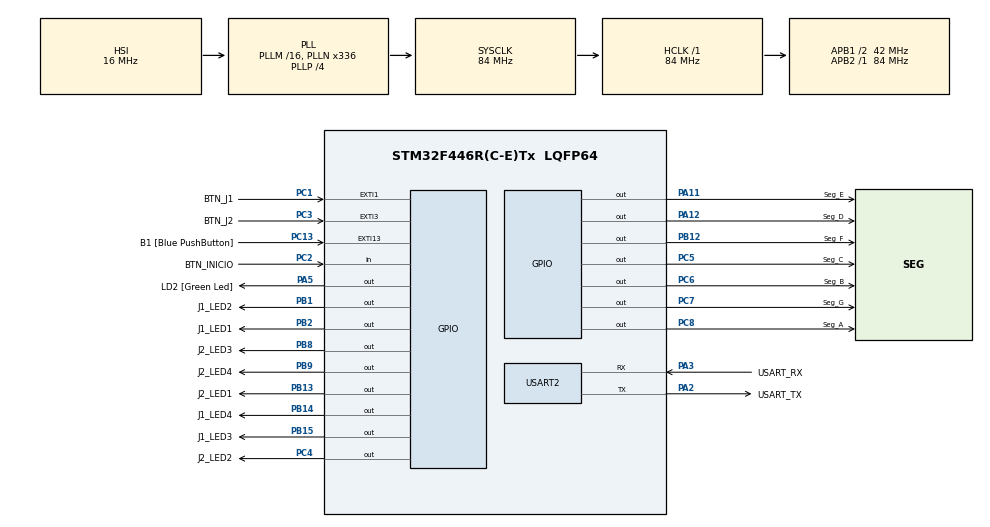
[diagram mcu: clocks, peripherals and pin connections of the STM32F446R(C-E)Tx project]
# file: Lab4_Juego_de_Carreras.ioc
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Mcu.Family=STM32F4
Mcu.Name=STM32F446R(C-E)Tx
Mcu.Package=LQFP64
NVIC.EXTI1_IRQn=true\:0\:0\:false\:false\:true\:true\:true\:true
NVIC.EXTI3_IRQn=true\:0\:0\:false\:false\:true\:true\:true\:true
NVIC.PriorityGroup=NVIC_PRIORITYGROUP_0
PA11.GPIO_Label=Seg_E
PA11.PinState=GPIO_PIN_SET
PA11.Signal=GPIO_Output
PA12.GPIO_Label=Seg_D
PA12.PinState=GPIO_PIN_SET
PA12.Signal=GPIO_Output
PA13.GPIO_Label=TMS
PA13.Mode=Serial_Wire
PA13.Signal=SYS_JTMS-SWDIO
PA14.GPIO_Label=TCK
PA14.Mode=Serial_Wire
PA14.Signal=SYS_JTCK-SWCLK
PA2.GPIO_Label=USART_TX
PA2.Mode=Asynchronous
PA2.Signal=USART2_TX
PA3.GPIO_Label=USART_RX
PA3.Mode=Asynchronous
PA3.Signal=USART2_RX
PA5.GPIO_Label=LD2 [Green Led]
PA5.Signal=GPIO_Output
PB1.GPIO_Label=J1_LED2
PB1.Signal=GPIO_Output
PB12.GPIO_Label=Seg_F
PB12.PinState=GPIO_PIN_SET
PB12.Signal=GPIO_Output
PB13.GPIO_Label=J2_LED1
PB13.Signal=GPIO_Output
PB14.GPIO_Label=J1_LED4
PB14.Signal=GPIO_Output
PB15.GPIO_Label=J1_LED3
PB15.Signal=GPIO_Output
PB2.GPIO_Label=J1_LED1
PB2.Signal=GPIO_Output
PB3.GPIO_Label=SWO
PB3.Signal=SYS_JTDO-SWO
PB8.GPIO_Label=J2_LED3
PB8.Signal=GPIO_Output
PB9.GPIO_Label=J2_LED4
PB9.Signal=GPIO_Output
PC1.GPIO_Label=BTN_J1
PC1.GPIO_ModeDefaultEXTI=GPIO_MODE_IT_FALLING
PC1.GPIO_PuPd=GPIO_PULLUP
PC1.Signal=GPXTI1
PC13.GPIO_Label=B1 [Blue PushButton]
PC13.GPIO_ModeDefaultEXTI=GPIO_MODE_IT_FALLING
PC13.Signal=GPXTI13
PC14-OSC32_IN.Mode=LSE-External-Oscillator
PC14-OSC32_IN.Signal=RCC_OSC32_IN
PC15-OSC32_OUT.Mode=LSE-External-Oscillator
PC15-OSC32_OUT.Signal=RCC_OSC32_OUT
PC2.GPIO_Label=BTN_INICIO
PC2.GPIO_PuPd=GPIO_PULLUP
PC2.Signal=GPIO_Input
PC3.GPIO_Label=BTN_J2
PC3.GPIO_ModeDefaultEXTI=GPIO_MODE_IT_FALLING
PC3.GPIO_PuPd=GPIO_PULLUP
PC3.Signal=GPXTI3
PC4.GPIO_Label=J2_LED2
PC4.Signal=GPIO_Output
PC5.GPIO_Label=Seg_C
PC5.PinState=GPIO_PIN_SET
PC5.Signal=GPIO_Output
PC6.GPIO_Label=Seg_B
PC6.PinState=GPIO_PIN_SET
PC6.Signal=GPIO_Output
PC7.GPIO_Label=Seg_G
PC7.PinState=GPIO_PIN_SET
PC7.Signal=GPIO_Output
PC8.GPIO_Label=Seg_A
PC8.PinState=GPIO_PIN_SET
PC8.Signal=GPIO_Output
PH0-OSC_IN.Mode=HSE-External-Oscillator
PH0-OSC_IN.Signal=RCC_OSC_IN
PH1-OSC_OUT.Mode=HSE-External-Oscillator
PH1-OSC_OUT.Signal=RCC_OSC_OUT
ProjectManager.HeapSize=0x200
ProjectManager.StackSize=0x400
ProjectManager.TargetToolchain=STM32CubeIDE
RCC.48MHZClocksFreq_Value=84000000
RCC.AHBFreq_Value=84000000
RCC.APB1CLKDivider=RCC_HCLK_DIV2
RCC.APB1Freq_Value=42000000
RCC.APB1TimFreq_Value=84000000
RCC.APB2Freq_Value=84000000
RCC.APB2TimFreq_Value=84000000
RCC.CortexFreq_Value=84000000
RCC.FLatency-AdvancedSettings=FLASH_LATENCY_2
RCC.HCLKFreq_Value=84000000
RCC.HSE_VALUE=8000000
RCC.HSI_VALUE=16000000
RCC.PLLN=336
RCC.PLLP=RCC_PLLP_DIV4
RCC.SYSCLKFreq_VALUE=84000000
RCC.SYSCLKSource=RCC_SYSCLKSOURCE_PLLCLK
RCC.USBFreq_Value=168000000
RCC.VCOOutputFreq_Value=336000000
USART2.VirtualMode=VM_ASYNC
board=NUCLEO-F446RE

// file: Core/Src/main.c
/* USER CODE BEGIN Header */
/**
  ******************************************************************************
  * @file           : main.c
  * @brief          : Main program body
  ******************************************************************************
  * @attention
  *
  * Copyright (c) 2026 STMicroelectronics.
  * All rights reserved.
  *
  * This software is licensed under terms that can be found in the LICENSE file
  * in the root directory of this software component.
  * If no LICENSE file comes with this software, it is provided AS-IS.
  *
  ******************************************************************************
  */
/* USER CODE END Header */
#include "main.h"

UART_HandleTypeDef huart2;

/* USER CODE BEGIN PV */
volatile uint8_t puntosJ1 = 0;
volatile uint8_t puntosJ2 = 0;
volatile uint8_t carrera_activa = 0; // Bloquea botones hasta que termine conteo
volatile uint8_t hay_ganador = 0;

/* USER CODE END PV */

void SystemClock_Config(void);
static void MX_GPIO_Init(void);
static void MX_USART2_UART_Init(void);
/* USER CODE BEGIN PFP */

void mostrarEnDisplay(uint8_t num);
void verificar_ganador(void);
void actualizar_leds_carrera_J1(uint8_t pos);
void actualizar_leds_carrera_J2(uint8_t pos);
void apagar_todo_emergencia(void);

/* USER CODE END PFP */

int main(void)
{

  /* MCU Configuration--------------------------------------------------------*/

  /* Reset of all peripherals, Initializes the Flash interface and the Systick. */
  HAL_Init();

  /* Configure the system clock */
  SystemClock_Config();

  /* Initialize all configured peripherals */
  MX_GPIO_Init();
  MX_USART2_UART_Init();

  /* Infinite loop */
  /* USER CODE BEGIN WHILE */
  while (1)
  {
	  // Detectar botón de inicio (BTN_3 en PC2)

	  if (HAL_GPIO_ReadPin(BTN_INICIO_GPIO_Port, BTN_INICIO_Pin) == GPIO_PIN_RESET && !carrera_activa) {
		  HAL_Delay(100); //Devounce

		  // LIMPIEZA TOTAL DE REGISTROS
		  GPIOB->ODR = 0; // Apaga todos los pines del Puerto B de un solo golpe
		  GPIOC->ODR = 0; // Apaga todos los pines del Puerto C de un solo golpe (Esto mata a PC4)

		  // El display es Ánodo Común, así que después de limpiar ODR,
		  // hay que volver a apagarlo (enviando 1s)
		  HAL_GPIO_WritePin(Seg_A_GPIO_Port, Seg_A_Pin|Seg_B_Pin|Seg_C_Pin|Seg_D_Pin|Seg_E_Pin|Seg_F_Pin|Seg_G_Pin, GPIO_PIN_SET);

		  puntosJ1 = 0;
		  puntosJ2 = 0;
		  hay_ganador = 0;

	      for (int i = 5; i >= 0; i--) {
	          mostrarEnDisplay(i);
	          HAL_Delay(1000);
	      }
	      carrera_activa = 1;
	  }

    /* USER CODE END WHILE */

  }
}

void SystemClock_Config(void)
{
  RCC_OscInitTypeDef RCC_OscInitStruct = {0};
  RCC_ClkInitTypeDef RCC_ClkInitStruct = {0};

  /** Configure the main internal regulator output voltage
  */
  __HAL_RCC_PWR_CLK_ENABLE();
  __HAL_PWR_VOLTAGESCALING_CONFIG(PWR_REGULATOR_VOLTAGE_SCALE3);

  /** Initializes the RCC Oscillators according to the specified parameters
  * in the RCC_OscInitTypeDef structure.
  */
  RCC_OscInitStruct.OscillatorType = RCC_OSCILLATORTYPE_HSI;
  RCC_OscInitStruct.HSIState = RCC_HSI_ON;
  RCC_OscInitStruct.HSICalibrationValue = RCC_HSICALIBRATION_DEFAULT;
  RCC_OscInitStruct.PLL.PLLState = RCC_PLL_ON;
  RCC_OscInitStruct.PLL.PLLSource = RCC_PLLSOURCE_HSI;
  RCC_OscInitStruct.PLL.PLLM = 16;
  RCC_OscInitStruct.PLL.PLLN = 336;
  RCC_OscInitStruct.PLL.PLLP = RCC_PLLP_DIV4;
  RCC_OscInitStruct.PLL.PLLQ = 2;
  RCC_OscInitStruct.PLL.PLLR = 2;
  if (HAL_RCC_OscConfig(&RCC_OscInitStruct) != HAL_OK)
  {
    Error_Handler();
  }

  /** Initializes the CPU, AHB and APB buses clocks
  */
  RCC_ClkInitStruct.ClockType = RCC_CLOCKTYPE_HCLK|RCC_CLOCKTYPE_SYSCLK
                              |RCC_CLOCKTYPE_PCLK1|RCC_CLOCKTYPE_PCLK2;
  RCC_ClkInitStruct.SYSCLKSource = RCC_SYSCLKSOURCE_PLLCLK;
  RCC_ClkInitStruct.AHBCLKDivider = RCC_SYSCLK_DIV1;
  RCC_ClkInitStruct.APB1CLKDivider = RCC_HCLK_DIV2;
  RCC_ClkInitStruct.APB2CLKDivider = RCC_HCLK_DIV1;

  if (HAL_RCC_ClockConfig(&RCC_ClkInitStruct, FLASH_LATENCY_2) != HAL_OK)
  {
    Error_Handler();
  }
}

static void MX_USART2_UART_Init(void)
{

  huart2.Instance = USART2;
  huart2.Init.BaudRate = 115200;
  huart2.Init.WordLength = UART_WORDLENGTH_8B;
  huart2.Init.StopBits = UART_STOPBITS_1;
  huart2.Init.Parity = UART_PARITY_NONE;
  huart2.Init.Mode = UART_MODE_TX_RX;
  huart2.Init.HwFlowCtl = UART_HWCONTROL_NONE;
  huart2.Init.OverSampling = UART_OVERSAMPLING_16;
  if (HAL_UART_Init(&huart2) != HAL_OK)
  {
    Error_Handler();
  }

}

static void MX_GPIO_Init(void)
{
  GPIO_InitTypeDef GPIO_InitStruct = {0};

  /* GPIO Ports Clock Enable */
  __HAL_RCC_GPIOC_CLK_ENABLE();
  __HAL_RCC_GPIOH_CLK_ENABLE();
  __HAL_RCC_GPIOA_CLK_ENABLE();
  __HAL_RCC_GPIOB_CLK_ENABLE();

  /*Configure GPIO pin Output Level */
  HAL_GPIO_WritePin(LD2_GPIO_Port, LD2_Pin, GPIO_PIN_RESET);

  /*Configure GPIO pin Output Level */
  HAL_GPIO_WritePin(J2_LED2_GPIO_Port, J2_LED2_Pin, GPIO_PIN_RESET);

  /*Configure GPIO pin Output Level */
  HAL_GPIO_WritePin(GPIOC, Seg_C_Pin|Seg_B_Pin|Seg_G_Pin|Seg_A_Pin, GPIO_PIN_SET);

  /*Configure GPIO pin Output Level */
  HAL_GPIO_WritePin(GPIOB, J1_LED2_Pin|J1_LED1_Pin|J2_LED1_Pin|J1_LED4_Pin
                          |J1_LED3_Pin|J2_LED3_Pin|J2_LED4_Pin, GPIO_PIN_RESET);

  /*Configure GPIO pin Output Level */
  HAL_GPIO_WritePin(Seg_F_GPIO_Port, Seg_F_Pin, GPIO_PIN_SET);

  /*Configure GPIO pin Output Level */
  HAL_GPIO_WritePin(GPIOA, Seg_E_Pin|Seg_D_Pin, GPIO_PIN_SET);

  /*Configure GPIO pin : B1_Pin */
  GPIO_InitStruct.Pin = B1_Pin;
  GPIO_InitStruct.Mode = GPIO_MODE_IT_FALLING;
  GPIO_InitStruct.Pull = GPIO_NOPULL;
  HAL_GPIO_Init(B1_GPIO_Port, &GPIO_InitStruct);

  /*Configure GPIO pins : BTN_J1_Pin BTN_J2_Pin */
  GPIO_InitStruct.Pin = BTN_J1_Pin|BTN_J2_Pin;
  GPIO_InitStruct.Mode = GPIO_MODE_IT_FALLING;
  GPIO_InitStruct.Pull = GPIO_PULLUP;
  HAL_GPIO_Init(GPIOC, &GPIO_InitStruct);

  /*Configure GPIO pin : BTN_INICIO_Pin */
  GPIO_InitStruct.Pin = BTN_INICIO_Pin;
  GPIO_InitStruct.Mode = GPIO_MODE_INPUT;
  GPIO_InitStruct.Pull = GPIO_PULLUP;
  HAL_GPIO_Init(BTN_INICIO_GPIO_Port, &GPIO_InitStruct);

  /*Configure GPIO pins : LD2_Pin Seg_E_Pin Seg_D_Pin */
  GPIO_InitStruct.Pin = LD2_Pin|Seg_E_Pin|Seg_D_Pin;
  GPIO_InitStruct.Mode = GPIO_MODE_OUTPUT_PP;
  GPIO_InitStruct.Pull = GPIO_NOPULL;
  GPIO_InitStruct.Speed = GPIO_SPEED_FREQ_LOW;
  HAL_GPIO_Init(GPIOA, &GPIO_InitStruct);

  /*Configure GPIO pins : J2_LED2_Pin Seg_C_Pin Seg_B_Pin Seg_G_Pin
                           Seg_A_Pin */
  GPIO_InitStruct.Pin = J2_LED2_Pin|Seg_C_Pin|Seg_B_Pin|Seg_G_Pin
                          |Seg_A_Pin;
  GPIO_InitStruct.Mode = GPIO_MODE_OUTPUT_PP;
  GPIO_InitStruct.Pull = GPIO_NOPULL;
  GPIO_InitStruct.Speed = GPIO_SPEED_FREQ_LOW;
  HAL_GPIO_Init(GPIOC, &GPIO_InitStruct);

  /*Configure GPIO pins : J1_LED2_Pin J1_LED1_Pin Seg_F_Pin J2_LED1_Pin
                           J1_LED4_Pin J1_LED3_Pin J2_LED3_Pin J2_LED4_Pin */
  GPIO_InitStruct.Pin = J1_LED2_Pin|J1_LED1_Pin|Seg_F_Pin|J2_LED1_Pin
                          |J1_LED4_Pin|J1_LED3_Pin|J2_LED3_Pin|J2_LED4_Pin;
  GPIO_InitStruct.Mode = GPIO_MODE_OUTPUT_PP;
  GPIO_InitStruct.Pull = GPIO_NOPULL;
  GPIO_InitStruct.Speed = GPIO_SPEED_FREQ_LOW;
  HAL_GPIO_Init(GPIOB, &GPIO_InitStruct);

  /* EXTI interrupt init*/
  HAL_NVIC_SetPriority(EXTI1_IRQn, 0, 0);
  HAL_NVIC_EnableIRQ(EXTI1_IRQn);

  HAL_NVIC_SetPriority(EXTI3_IRQn, 0, 0);
  HAL_NVIC_EnableIRQ(EXTI3_IRQn);

}

/* USER CODE BEGIN 4 */
void HAL_GPIO_EXTI_Callback(uint16_t GPIO_Pin) {
	// Si la carrera no ha empezado o ya terminó, ignorar
    if (!carrera_activa || hay_ganador) return;

    // JUGADOR 1
    if (GPIO_Pin == BTN_J1_Pin) {
        // Solo contamos si el pin está realmente en nivel bajo (presionado)
                puntosJ1++;
                if (puntosJ1 <= 4) {
                	actualizar_leds_carrera_J1(puntosJ1);
                } else {
                	verificar_ganador(); // Se dispara en la 5ta pulsación
                }
    }

    // JUGADOR 2
    if (GPIO_Pin == BTN_J2_Pin) {
                puntosJ2++;
                if (puntosJ2 <= 4) {
                	actualizar_leds_carrera_J2(puntosJ2);
                } else {
                	verificar_ganador(); // Se dispara en la 5ta pulsación
                }

            }

}

void verificar_ganador(void) {
    if (puntosJ1 >= 5) {
        hay_ganador = 1;
        carrera_activa = 0;
        mostrarEnDisplay(1);

        // --- GANADOR JUGADOR 1 ---
        // 1. Encender TODOS los de J1 (Cuidado: J1_LEDx pueden estar en puertos distintos)
        HAL_GPIO_WritePin(J1_LED1_GPIO_Port, J1_LED1_Pin, GPIO_PIN_SET);
        HAL_GPIO_WritePin(J1_LED2_GPIO_Port, J1_LED2_Pin, GPIO_PIN_SET);
        HAL_GPIO_WritePin(J1_LED3_GPIO_Port, J1_LED3_Pin, GPIO_PIN_SET);
        HAL_GPIO_WritePin(J1_LED4_GPIO_Port, J1_LED4_Pin, GPIO_PIN_SET);

        // 2. Apagar TODOS los de J2 (Aquí forzamos el apagado de PC4 específicamente)
        HAL_GPIO_WritePin(J2_LED1_GPIO_Port, J2_LED1_Pin, GPIO_PIN_RESET);
        HAL_GPIO_WritePin(J2_LED2_GPIO_Port, J2_LED2_Pin, GPIO_PIN_RESET); // Este suele ser PC4
        HAL_GPIO_WritePin(J2_LED3_GPIO_Port, J2_LED3_Pin, GPIO_PIN_RESET);
        HAL_GPIO_WritePin(J2_LED4_GPIO_Port, J2_LED4_Pin, GPIO_PIN_RESET);
    }
    else if (puntosJ2 >= 5) {
        hay_ganador = 1;
        carrera_activa = 0;
        mostrarEnDisplay(2);

        // --- GANADOR JUGADOR 2 ---
        // 1. Encender TODOS los de J2 (Incluyendo PC4)
        HAL_GPIO_WritePin(J2_LED1_GPIO_Port, J2_LED1_Pin, GPIO_PIN_SET);
        HAL_GPIO_WritePin(J2_LED2_GPIO_Port, J2_LED2_Pin, GPIO_PIN_SET);
        HAL_GPIO_WritePin(J2_LED3_GPIO_Port, J2_LED3_Pin, GPIO_PIN_SET);
        HAL_GPIO_WritePin(J2_LED4_GPIO_Port, J2_LED4_Pin, GPIO_PIN_SET);

        // 2. Apagar TODOS los de J1
        HAL_GPIO_WritePin(J1_LED1_GPIO_Port, J1_LED1_Pin, GPIO_PIN_RESET);
        HAL_GPIO_WritePin(J1_LED2_GPIO_Port, J1_LED2_Pin, GPIO_PIN_RESET);
        HAL_GPIO_WritePin(J1_LED3_GPIO_Port, J1_LED3_Pin, GPIO_PIN_RESET);
        HAL_GPIO_WritePin(J1_LED4_GPIO_Port, J1_LED4_Pin, GPIO_PIN_RESET);
    }
}

void mostrarEnDisplay(uint8_t num) {
    // 1. APAGAR TODO (Poner en SET porque es Ánodo Común)
    // Debemos apagar cada puerto por separado
    HAL_GPIO_WritePin(GPIOC, Seg_A_Pin|Seg_B_Pin|Seg_C_Pin|Seg_G_Pin, GPIO_PIN_SET);
    HAL_GPIO_WritePin(GPIOA, Seg_D_Pin|Seg_E_Pin, GPIO_PIN_SET);
    HAL_GPIO_WritePin(GPIOB, Seg_F_Pin, GPIO_PIN_SET);

    switch(num) {
        case 0: // A, B, C, D, E, F
            HAL_GPIO_WritePin(GPIOC, Seg_A_Pin|Seg_B_Pin|Seg_C_Pin, GPIO_PIN_RESET);
            HAL_GPIO_WritePin(GPIOA, Seg_D_Pin|Seg_E_Pin, GPIO_PIN_RESET);
            HAL_GPIO_WritePin(GPIOB, Seg_F_Pin, GPIO_PIN_RESET);
            break;
        case 1: // B, C
            HAL_GPIO_WritePin(GPIOC, Seg_B_Pin|Seg_C_Pin, GPIO_PIN_RESET);
            break;
        case 2: // A, B, G, E, D
            HAL_GPIO_WritePin(GPIOC, Seg_A_Pin|Seg_B_Pin|Seg_G_Pin, GPIO_PIN_RESET);
            HAL_GPIO_WritePin(GPIOA, Seg_D_Pin|Seg_E_Pin, GPIO_PIN_RESET);
            break;
        case 3: // A, B, G, C, D
            HAL_GPIO_WritePin(GPIOC, Seg_A_Pin|Seg_B_Pin|Seg_C_Pin|Seg_G_Pin, GPIO_PIN_RESET);
            HAL_GPIO_WritePin(GPIOA, Seg_D_Pin, GPIO_PIN_RESET);
            break;
        case 4: // F, G, B, C
            HAL_GPIO_WritePin(GPIOB, Seg_F_Pin, GPIO_PIN_RESET);
            HAL_GPIO_WritePin(GPIOC, Seg_G_Pin|Seg_B_Pin|Seg_C_Pin, GPIO_PIN_RESET);
            break;
        case 5: // A, F, G, C, D
            HAL_GPIO_WritePin(GPIOC, Seg_A_Pin|Seg_G_Pin|Seg_C_Pin, GPIO_PIN_RESET);
            HAL_GPIO_WritePin(GPIOB, Seg_F_Pin, GPIO_PIN_RESET);
            HAL_GPIO_WritePin(GPIOA, Seg_D_Pin, GPIO_PIN_RESET);
            break;
    }
}
void actualizar_leds_carrera_J1(uint8_t pos) {
	// Apagar todos los leds
    HAL_GPIO_WritePin(J1_LED1_GPIO_Port, J1_LED1_Pin|J1_LED2_Pin|J1_LED3_Pin|J1_LED4_Pin, GPIO_PIN_RESET);
    // Encender solo actual
    if(pos == 1) HAL_GPIO_WritePin(J1_LED1_GPIO_Port, J1_LED1_Pin, GPIO_PIN_SET);
    if(pos == 2) HAL_GPIO_WritePin(J1_LED2_GPIO_Port, J1_LED2_Pin, GPIO_PIN_SET);
    if(pos == 3) HAL_GPIO_WritePin(J1_LED3_GPIO_Port, J1_LED3_Pin, GPIO_PIN_SET);
    if(pos == 4) HAL_GPIO_WritePin(J1_LED4_GPIO_Port, J1_LED4_Pin, GPIO_PIN_SET);
}

void actualizar_leds_carrera_J2(uint8_t pos) {
    HAL_GPIO_WritePin(J2_LED1_GPIO_Port, J2_LED1_Pin|J2_LED3_Pin|J2_LED4_Pin, GPIO_PIN_RESET);
    HAL_GPIO_WritePin(GPIOC, J2_LED2_Pin, GPIO_PIN_RESET);
    if(pos == 1) HAL_GPIO_WritePin(J2_LED1_GPIO_Port, J2_LED1_Pin, GPIO_PIN_SET);
    if(pos == 2) HAL_GPIO_WritePin(J2_LED2_GPIO_Port, J2_LED2_Pin, GPIO_PIN_SET);
    if(pos == 3) HAL_GPIO_WritePin(J2_LED3_GPIO_Port, J2_LED3_Pin, GPIO_PIN_SET);
    if(pos == 4) HAL_GPIO_WritePin(J2_LED4_GPIO_Port, J2_LED4_Pin, GPIO_PIN_SET);
}

void apagar_todo_emergencia(void) {
    // Apagar J1
    HAL_GPIO_WritePin(J1_LED1_GPIO_Port, J1_LED1_Pin | J1_LED2_Pin | J1_LED3_Pin | J1_LED4_Pin, GPIO_PIN_RESET);

    // Apagar J2 (Aquí es donde PC4 podría estar fallando si no usas su etiqueta correcta)
    // Asegúrate que J2_LED2 (o el que sea PC4) esté en esta lista:
    HAL_GPIO_WritePin(J2_LED1_GPIO_Port, J2_LED1_Pin | J2_LED2_Pin | J2_LED3_Pin | J2_LED4_Pin, GPIO_PIN_RESET);

    // Apagar Display (Ánodo común = SET para apagar)
    HAL_GPIO_WritePin(Seg_A_GPIO_Port, Seg_A_Pin|Seg_B_Pin|Seg_C_Pin|Seg_D_Pin|Seg_E_Pin|Seg_F_Pin|Seg_G_Pin, GPIO_PIN_SET);
}

/* USER CODE END 4 */

void Error_Handler(void)
{
  __disable_irq();
  while (1)
  {
  }
}
